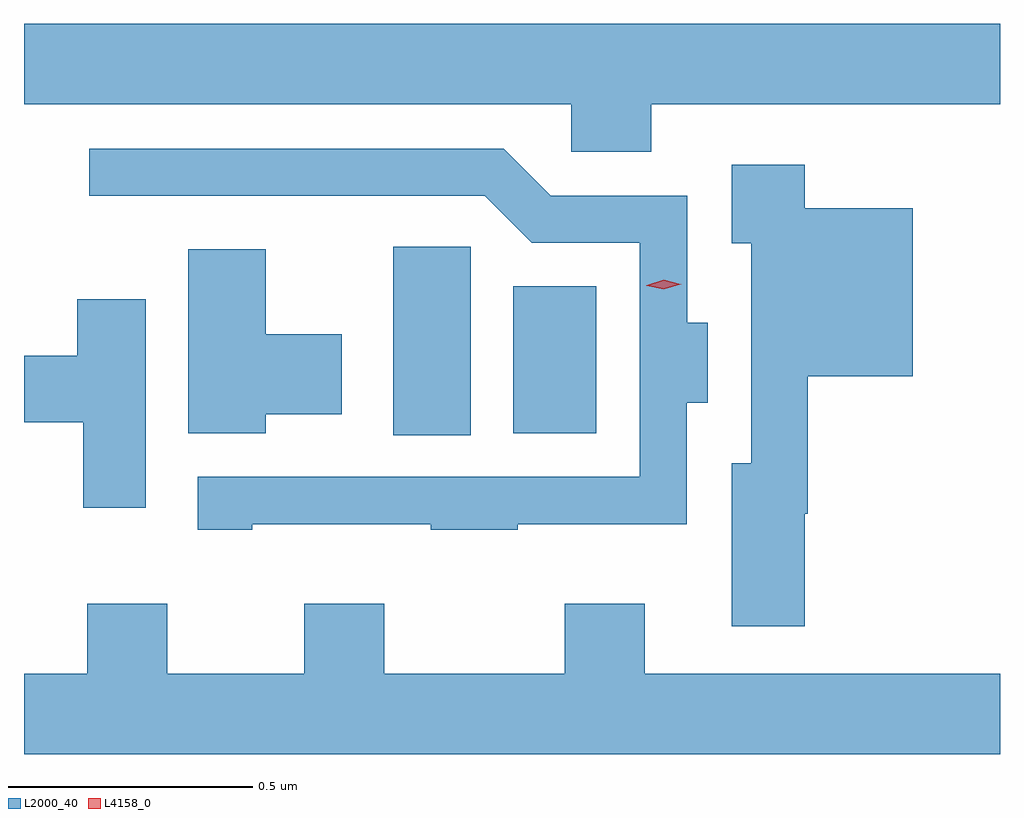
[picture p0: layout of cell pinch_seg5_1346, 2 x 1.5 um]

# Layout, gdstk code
import gdstk
lib = gdstk.Library(unit=1e-6, precision=1e-09)
def R(c, l, rs):  # rectangles x0, y0, x1, y1
    for r in rs: c.add(gdstk.rectangle(r[:2], r[2:], *l))
def P(c, l, *ps):  # polygons
    for p in ps: c.add(gdstk.Polygon(p, *l))
L2000_40 = (2000, 40)
L4158_0 = (4158, 0)

pinch_seg5_1346 = lib.new_cell('pinch_seg5_1346')
R(pinch_seg5_1346, L2000_40, [(521.414,853.417,521.572,853.804), (521.66,853.421,521.83,853.723)])
P(pinch_seg5_1346, L2000_40, [(520.657,854.096),(521.778,854.096),(521.778,853.998),(521.942,853.998),(521.942,854.096),(522.657,854.096),(522.657,854.26),(520.657,854.26)],
  [(521.125,853.235),(521.491,853.235),(521.491,853.224),(521.669,853.224),(521.669,853.235),(522.015,853.235),(522.015,853.484),(522.058,853.484),(522.058,853.648),(522.016,853.648),(522.016,853.908),(521.736,853.908),(521.64,854.004),(520.791,854.004),(520.791,853.908),(521.601,853.908),(521.697,853.812),(521.919,853.812),(521.919,853.332),(521.013,853.332),(521.013,853.224),(521.125,853.224)],
  [(522.257,853.256),(522.263,853.256),(522.263,853.538),(522.478,853.538),(522.478,853.882),(522.257,853.882),(522.257,853.972),(522.107,853.972),(522.107,853.811),(522.147,853.811),(522.147,853.36),(522.107,853.36),(522.107,853.026),(522.257,853.026)],
  [(521.152,853.46),(521.308,853.46),(521.308,853.624),(521.152,853.624),(521.152,853.798),(520.994,853.798),(520.994,853.421),(521.152,853.421)],
  [(520.906,853.696),(520.766,853.696),(520.766,853.58),(520.657,853.58),(520.657,853.444),(520.778,853.444),(520.778,853.269),(520.906,853.269)],
  [(522.657,852.928),(521.929,852.928),(521.929,853.072),(521.765,853.072),(521.765,852.928),(521.395,852.928),(521.395,853.072),(521.231,853.072),(521.231,852.928),(520.951,852.928),(520.951,853.072),(520.787,853.072),(520.787,852.928),(520.657,852.928),(520.657,852.764),(522.657,852.764)])
P(pinch_seg5_1346, L4158_0, [(521.968,853.716),(521.933,853.724),(521.932,853.724),(521.933,853.725),(521.968,853.736),(522.003,853.727),(522.004,853.727),(522.003,853.727)])

lib.write_gds('pinch_seg5_1346.gds')
